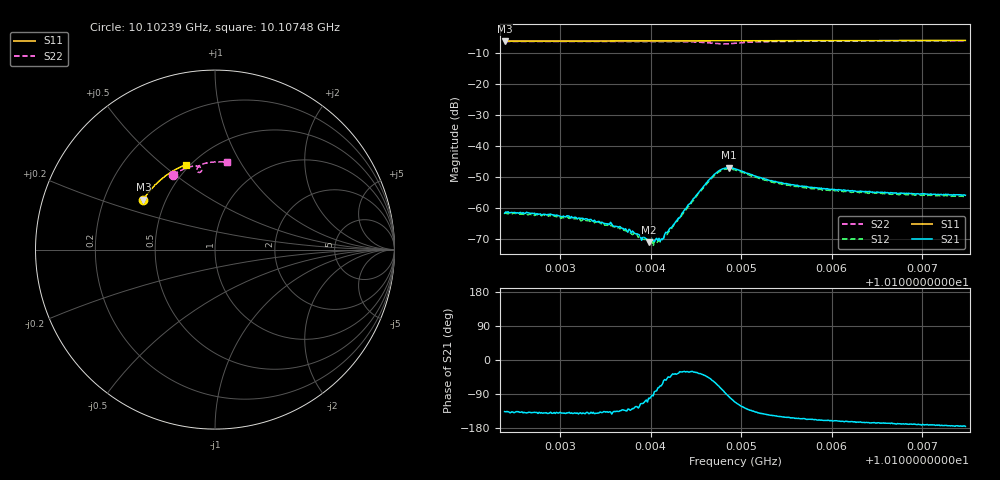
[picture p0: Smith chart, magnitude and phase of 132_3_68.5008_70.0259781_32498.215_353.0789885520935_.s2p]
#  HZ  S  RI  R  50.00
! Rohde & Schwarz Vector Network Analyzer
! Rohde-Schwarz,ZNB20-2Port,1311601062101988,3.16
! Created: UTC 3/20/2024, 4:54:26 PM
! freq[Hz]  re:S11  im:S11  re:S21  im:S21  re:S12  im:S12  re:S22  im:S22
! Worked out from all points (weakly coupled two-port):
!   401 points, 10.10239 GHz to 10.10748 GHz, reference 50 ohm
!   highest |S21| = -47.08 dB at 10.10487 GHz (marker M1); lowest = -71.1 dB at 10.10398 GHz (marker M2)
!   lowest |S11| = -6.3 dB at 10.10239 GHz (marker M3), VSWR 2.89, Z = 18.8 + j13.7 ohm
!   |S11| at or under -10 dB: nowhere
!   |S22| runs from -7.2 to -6.2 dB; largest |S21 - S12| = 0.00045
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1.0102385e10  -0.3988 0.2786  -0.00059 -0.000566  -0.000553 -0.00062  -0.2337 0.4181
1.0102895e10  -0.3814 0.3044  -0.000587 -0.00053  -0.000517 -0.000506  -0.2045 0.4346
1.0103239e10  -0.3688 0.321  -0.000531 -0.000419  -0.000445 -0.000433  -0.1836 0.4447
1.0103544e10  -0.3571 0.3353  -0.00039 -0.000368  -0.000337 -0.000383  -0.1643 0.4526
1.0103646e10  -0.3529 0.3401  -0.000348 -0.000337  -0.000325 -0.000371  -0.1577 0.4552
1.0103786e10  -0.3472 0.3465  -0.000257 -0.000298  -0.000227 -0.00031  -0.1482 0.4583
1.0103863e10  -0.3441 0.3498  -0.000223 -0.000299  -0.000134 -0.000305  -0.1428 0.4602
1.0103977e10  -0.3394 0.355  -5.2e-05 -0.000273  -5.17e-05 -0.000285  -0.1346 0.4623
1.0104028e10  -0.3372 0.3571  -2.38e-05 -0.000293  7.53e-06 -0.00024  -0.1307 0.4632
1.0104092e10  -0.3346 0.36  9.67e-05 -0.000308  8.39e-05 -0.000285  -0.1258 0.4644
1.010413e10  -0.3327 0.3616  0.000138 -0.000275  0.000169 -0.00026  -0.1227 0.4649
1.0104207e10  -0.3297 0.3649  0.000319 -0.000325  0.000328 -0.000279  -0.1164 0.4658
1.0104398e10  -0.3213 0.3728  0.000857 -0.00051  0.000872 -0.000411  -0.0989 0.4657
1.0104563e10  -0.3137 0.3798  0.00159 -0.00122  0.00163 -0.00104  -0.0817 0.4587
1.0104691e10  -0.3079 0.3847  0.00186 -0.0027  0.00199 -0.00244  -0.0741 0.4432
1.010478e10  -0.3039 0.3882  0.00103 -0.00401  0.00135 -0.00377  -0.0809 0.4315
1.0104869e10  -0.2999 0.3915  -0.000589 -0.00438  -0.000163 -0.00424  -0.0943 0.4321
1.0104933e10  -0.297 0.394  -0.00153 -0.00397  -0.00113 -0.00393  -0.1 0.4394
1.010534e10  -0.2777 0.4093  -0.00227 -0.00153  -0.00203 -0.00162  -0.0774 0.4731
1.0105786e10  -0.2554 0.425  -0.00195 -0.000853  -0.0018 -0.000941  -0.0444 0.4833
1.010664e10  -0.2108 0.4509  -0.00167 -0.000394  -0.00159 -0.000511  0.0137 0.4889
1.010748e10  -0.1642 0.4716  -0.00159 -0.000138  -0.00152 -0.000299  0.0685 0.4867
